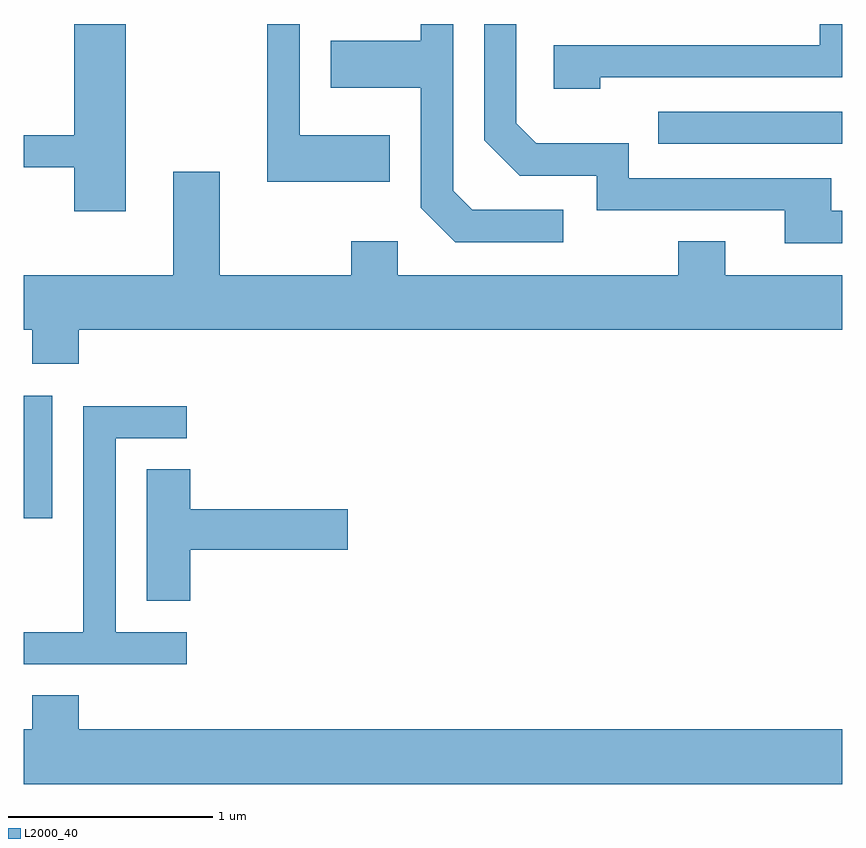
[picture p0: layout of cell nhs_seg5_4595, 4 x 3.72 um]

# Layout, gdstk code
import gdstk
lib = gdstk.Library(unit=1e-6, precision=1e-09)
def R(c, l, rs):  # rectangles x0, y0, x1, y1
    for r in rs: c.add(gdstk.rectangle(r[:2], r[2:], *l))
def P(c, l, *ps):  # polygons
    for p in ps: c.add(gdstk.Polygon(p, *l))
L2000_40 = (2000, 40)

nhs_seg5_4595 = lib.new_cell('nhs_seg5_4595')
R(nhs_seg5_4595, L2000_40, [(321.611,1453.656,321.749,1454.254), (324.713,1455.486,325.611,1455.644)])
P(nhs_seg5_4595, L2000_40, [(322.109,1456.072),(321.856,1456.072),(321.856,1455.529),(321.611,1455.529),(321.611,1455.371),(321.856,1455.371),(321.856,1455.156),(322.109,1455.156)],
  [(324.248,1455.164),(323.802,1455.164),(323.709,1455.257),(323.709,1456.072),(323.551,1456.072),(323.551,1455.989),(323.111,1455.989),(323.111,1455.761),(323.551,1455.761),(323.551,1455.174),(323.719,1455.006),(324.248,1455.006)],
  [(324.429,1455.811),(325.611,1455.811),(325.611,1456.072),(325.501,1456.072),(325.501,1455.969),(324.201,1455.969),(324.201,1455.756),(324.429,1455.756)],
  [(323.399,1455.529),(322.959,1455.529),(322.959,1456.072),(322.801,1456.072),(322.801,1455.301),(323.399,1455.301)],
  [(325.611,1455.159),(325.559,1455.159),(325.559,1455.319),(324.569,1455.319),(324.569,1455.489),(324.117,1455.489),(324.019,1455.587),(324.019,1456.072),(323.861,1456.072),(323.861,1455.504),(324.034,1455.331),(324.411,1455.331),(324.411,1455.161),(325.331,1455.161),(325.331,1455.001),(325.611,1455.001)],
  [(321.879,1454.576),(325.611,1454.576),(325.611,1454.844),(325.039,1454.844),(325.039,1455.009),(324.811,1455.009),(324.811,1454.844),(323.439,1454.844),(323.439,1455.009),(323.211,1455.009),(323.211,1454.844),(322.569,1454.844),(322.569,1455.349),(322.341,1455.349),(322.341,1454.844),(321.611,1454.844),(321.611,1454.576),(321.651,1454.576),(321.651,1454.411),(321.879,1454.411)],
  [(322.408,1453.099),(322.059,1453.099),(322.059,1454.046),(322.408,1454.046),(322.408,1454.204),(321.901,1454.204),(321.901,1453.099),(321.611,1453.099),(321.611,1452.941),(322.408,1452.941)],
  [(322.424,1453.501),(323.194,1453.501),(323.194,1453.699),(322.424,1453.699),(322.424,1453.894),(322.211,1453.894),(322.211,1453.251),(322.424,1453.251)],
  [(325.611,1452.624),(321.879,1452.624),(321.879,1452.789),(321.651,1452.789),(321.651,1452.624),(321.611,1452.624),(321.611,1452.356),(325.611,1452.356)])

lib.write_gds('nhs_seg5_4595.gds')
